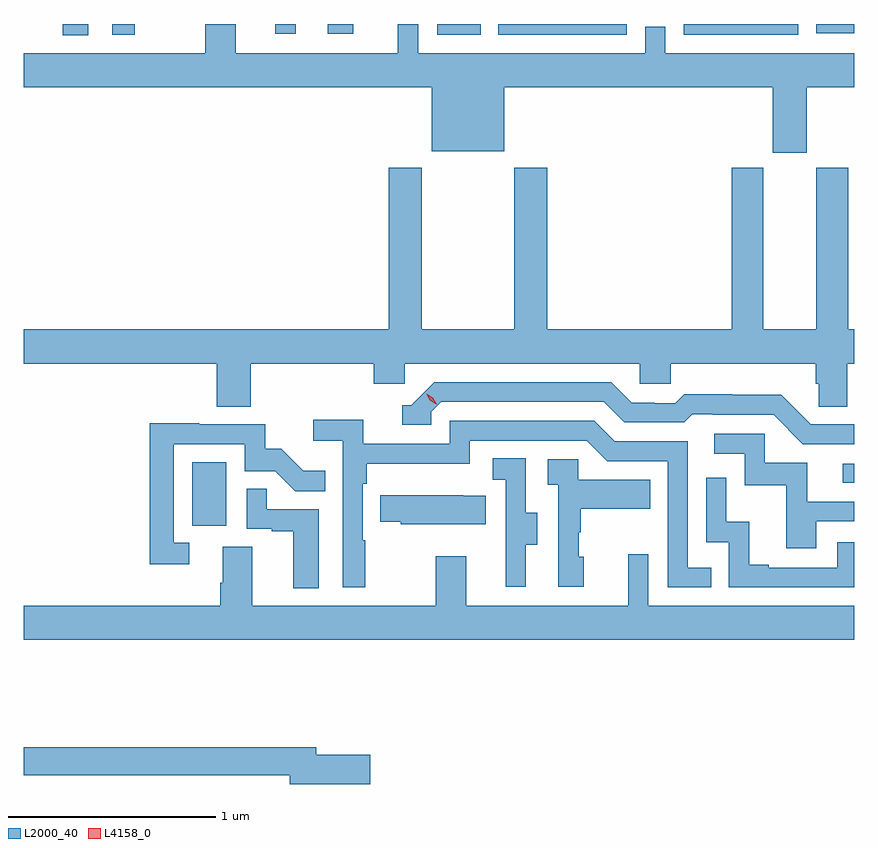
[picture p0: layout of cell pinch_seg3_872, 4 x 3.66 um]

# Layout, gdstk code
import gdstk
lib = gdstk.Library(unit=1e-6, precision=1e-09)
def R(c, l, rs):  # rectangles x0, y0, x1, y1
    for r in rs: c.add(gdstk.rectangle(r[:2], r[2:], *l))
def P(c, l, *ps):  # polygons
    for p in ps: c.add(gdstk.Polygon(p, *l))
L2000_40 = (2000, 40)
L4158_0 = (4158, 0)

pinch_seg3_872 = lib.new_cell('pinch_seg3_872')
R(pinch_seg3_872, L2000_40, [(832.43,702.798,832.594,703.105), (835.563,703.005,835.618,703.098), (831.806,705.161,831.928,705.216), (832.044,705.165,832.153,705.216), (833.61,705.165,833.819,705.216), (833.904,705.165,834.522,705.216), (834.798,705.165,835.35,705.216), (832.829,705.168,832.927,705.216), (833.082,705.168,833.206,705.216), (835.435,705.171,835.618,705.216)])
P(pinch_seg3_872, L2000_40, [(835.39,704.912),(835.618,704.912),(835.618,705.076),(834.708,705.076),(834.708,705.203),(834.612,705.203),(834.612,705.076),(833.517,705.076),(833.517,705.216),(833.42,705.216),(833.42,705.076),(832.639,705.076),(832.639,705.216),(832.492,705.216),(832.492,705.076),(831.618,705.076),(831.618,704.912),(833.582,704.912),(833.582,704.603),(833.932,704.603),(833.932,704.912),(835.226,704.912),(835.226,704.595),(835.39,704.595)],
  [(832.712,703.58),(833.303,703.58),(833.303,703.482),(833.454,703.482),(833.454,703.58),(834.585,703.58),(834.585,703.482),(834.735,703.482),(834.735,703.58),(835.433,703.58),(835.433,703.482),(835.447,703.482),(835.447,703.372),(835.584,703.372),(835.584,703.58),(835.618,703.58),(835.618,703.744),(835.589,703.744),(835.589,704.523),(835.436,704.523),(835.436,703.744),(835.18,703.744),(835.18,704.523),(835.028,704.523),(835.028,703.744),(834.14,703.744),(834.14,704.524),(833.98,704.524),(833.98,703.744),(833.535,703.744),(833.535,704.524),(833.375,704.524),(833.375,703.744),(831.618,703.744),(831.618,703.58),(832.547,703.58),(832.547,703.372),(832.712,703.372)],
  [(835.618,703.287),(835.41,703.287),(835.268,703.429),(835.032,703.429),(835.032,703.432),(834.799,703.432),(834.757,703.389),(834.654,703.389),(834.654,703.392),(834.547,703.392),(834.448,703.491),(833.595,703.491),(833.484,703.38),(833.441,703.38),(833.441,703.284),(833.58,703.284),(833.58,703.347),(833.628,703.395),(834.411,703.395),(834.51,703.296),(834.799,703.296),(834.838,703.335),(834.937,703.335),(834.937,703.332),(835.23,703.332),(835.371,703.191),(835.618,703.191)],
  [(833.263,702.728),(833.25,702.728),(833.25,703.001),(833.27,703.001),(833.27,703.097),(833.766,703.097),(833.766,703.209),(834.33,703.209),(834.429,703.11),(834.72,703.11),(834.72,702.501),(834.929,702.501),(834.929,702.597),(834.816,702.597),(834.816,703.206),(834.466,703.206),(834.367,703.305),(833.67,703.305),(833.67,703.194),(833.252,703.194),(833.252,703.31),(833.013,703.31),(833.013,703.208),(833.154,703.208),(833.154,702.501),(833.263,702.501)],
  [(832.414,702.717),(832.341,702.717),(832.341,703.191),(832.683,703.191),(832.683,703.062),(832.828,703.062),(832.926,702.964),(833.069,702.964),(833.069,703.063),(832.965,703.063),(832.858,703.17),(832.782,703.17),(832.782,703.287),(832.463,703.287),(832.463,703.292),(832.225,703.292),(832.225,702.612),(832.414,702.612)],
  [(835.435,702.819),(835.618,702.819),(835.618,702.915),(835.393,702.915),(835.393,703.101),(835.188,703.101),(835.188,703.242),(834.945,703.242),(834.945,703.146),(835.092,703.146),(835.092,702.993),(835.291,702.993),(835.291,702.69),(835.435,702.69)],
  [(834.037,702.706),(834.091,702.706),(834.091,702.861),(834.036,702.861),(834.036,703.124),(833.877,703.124),(833.877,703.021),(833.94,703.021),(833.94,702.717),(833.939,702.717),(833.939,702.504),(834.037,702.504)],
  [(834.316,702.648),(834.291,702.648),(834.291,702.767),(834.301,702.767),(834.301,702.881),(834.635,702.881),(834.635,703.021),(834.288,703.021),(834.288,703.119),(834.141,703.119),(834.141,702.995),(834.192,702.995),(834.192,702.504),(834.316,702.504)],
  [(835.618,702.72),(835.536,702.72),(835.536,702.597),(835.207,702.597),(835.207,702.61),(835.112,702.61),(835.112,702.818),(835.002,702.818),(835.002,703.03),(834.906,703.03),(834.906,702.72),(835.014,702.72),(835.014,702.501),(835.618,702.501)],
  [(833.038,702.879),(832.787,702.879),(832.787,702.977),(832.692,702.977),(832.692,702.783),(832.813,702.783),(832.813,702.771),(832.916,702.771),(832.916,702.497),(833.038,702.497)],
  [(833.843,702.943),(833.735,702.943),(833.735,702.946),(833.335,702.946),(833.335,702.817),(833.433,702.817),(833.433,702.806),(833.843,702.806)],
  [(835.618,702.412),(834.627,702.412),(834.627,702.661),(834.53,702.661),(834.53,702.412),(833.749,702.412),(833.749,702.652),(833.602,702.652),(833.602,702.412),(832.717,702.412),(832.717,702.698),(832.577,702.698),(832.577,702.524),(832.565,702.524),(832.565,702.412),(831.618,702.412),(831.618,702.248),(835.618,702.248)],
  [(833.287,701.696),(833.026,701.696),(833.026,701.732),(831.618,701.732),(831.618,701.596),(832.898,701.596),(832.898,701.554),(833.287,701.554)])
P(pinch_seg3_872, L4158_0, [(833.605,703.383),(833.574,703.402),(833.558,703.434),(833.558,703.435),(833.558,703.435),(833.589,703.416),(833.606,703.383),(833.606,703.383)])

lib.write_gds('pinch_seg3_872.gds')
